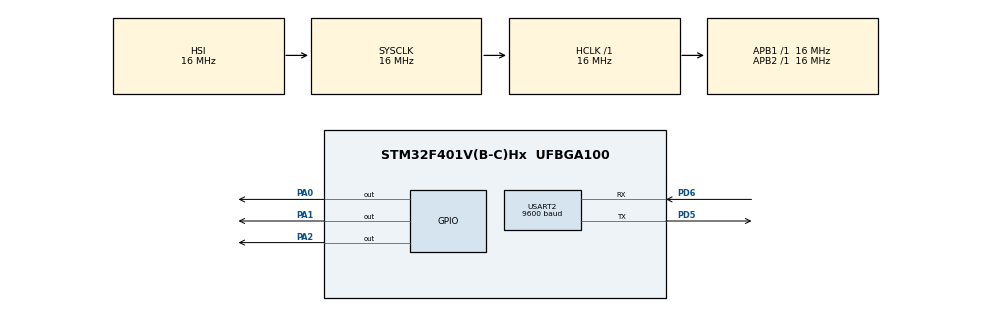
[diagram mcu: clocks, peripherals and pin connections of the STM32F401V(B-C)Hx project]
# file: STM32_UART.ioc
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Mcu.Family=STM32F4
Mcu.Name=STM32F401V(B-C)Hx
Mcu.Package=UFBGA100
NVIC.PriorityGroup=NVIC_PRIORITYGROUP_4
PA0-WKUP.Signal=GPIO_Output
PA1.Signal=GPIO_Output
PA2.Signal=GPIO_Output
PD5.Mode=Asynchronous
PD5.Signal=USART2_TX
PD6.Mode=Asynchronous
PD6.Signal=USART2_RX
ProjectManager.HeapSize=0x200
ProjectManager.StackSize=0x400
ProjectManager.TargetToolchain=STM32CubeIDE
RCC.AHBFreq_Value=16000000
RCC.APB1Freq_Value=16000000
RCC.APB2Freq_Value=16000000
RCC.CortexFreq_Value=16000000
RCC.HSE_VALUE=25000000
RCC.HSI_VALUE=16000000
RCC.LSE_VALUE=32768
RCC.SYSCLKFreq_VALUE=16000000
RCC.VCOOutputFreq_Value=192000000
USART2.BaudRate=9600
USART2.VirtualMode=VM_ASYNC
board=custom

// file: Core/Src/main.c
/* USER CODE BEGIN Header */
/**
  ******************************************************************************
  * @file           : main.c
  * @brief          : Main program body
  ******************************************************************************
  * @attention
  *
  * <h2><center>&copy; Copyright (c) 2021 STMicroelectronics.
  * All rights reserved.</center></h2>
  *
  * This software component is licensed by ST under BSD 3-Clause license,
  * the "License"; You may not use this file except in compliance with the
  * License. You may obtain a copy of the License at:
  *                        opensource.org/licenses/BSD-3-Clause
  *
  ******************************************************************************
  */
/* USER CODE END Header */
#include "main.h"

UART_HandleTypeDef huart2;

/* USER CODE BEGIN PV */
uint8_t handshake_ATmega = 0;
uint8_t handshake_ATmega2 = 0;
uint8_t handshake_ATmega3 = 0;
uint8_t Ack_ATmega = 0x18;
uint8_t Ack_ATmega2 = 0x30;
uint8_t Ack_ATmega3 = 0x04;

uint8_t colored = 0x02;
uint8_t black = 0x03;
uint8_t error = 0x05;

int break_loop = 0;
/* USER CODE END PV */

void SystemClock_Config(void);
static void MX_GPIO_Init(void);
static void MX_USART2_UART_Init(void);

int main(void)
{

  /* MCU Configuration--------------------------------------------------------*/

  /* Reset of all peripherals, Initializes the Flash interface and the Systick. */
  HAL_Init();

  /* Configure the system clock */
  SystemClock_Config();

  /* Initialize all configured peripherals */
  MX_GPIO_Init();
  MX_USART2_UART_Init();
  /* USER CODE BEGIN 2 */

  GET_Image_Resolution();
  /* USER CODE END 2 */

  /* Infinite loop */
  /* USER CODE BEGIN WHILE */
  if (handshake_ATmega * handshake_ATmega2 == 2048) {
	  HAL_GPIO_WritePin(GPIOA, GPIO_PIN_2, GPIO_PIN_SET);
	  HAL_Delay(100);
  }
  while (1)
  {
	  handshake_ATmega3 = 0;

	  if (__HAL_UART_GET_FLAG(&huart2, UART_FLAG_RXNE) == SET) {
		  HAL_UART_Receive(&huart2, (uint8_t *) &handshake_ATmega3, 1, 1000);
		  __HAL_UART_CLEAR_FLAG(&huart2, UART_FLAG_RXNE);

		  if (handshake_ATmega3 == 0x29) {
			  HAL_Delay(100);
			  HAL_UART_Transmit(&huart2, (uint8_t *) &Ack_ATmega3, 1, 100);
			  //HAL_UART_Transmit(&huart2, (uint8_t *) &black, 1, 100);
			  //HAL_UART_Transmit(&huart2, (uint8_t *) &error, 1, 100);
			  HAL_Delay(1000);
			  HAL_UART_Transmit(&huart2, (uint8_t *) &colored, 1, 100);
			  //HAL_UART_Transmit(&huart2, (uint8_t *) &black, 1, 100);
			  //HAL_UART_Transmit(&huart2, (uint8_t *) &error, 1, 100);
			  //break;
		  }
		  else {
			  continue;
		  }
	  }
    /* USER CODE END WHILE */

    /* USER CODE BEGIN 3 */
	  HAL_GPIO_TogglePin(GPIOA, GPIO_PIN_0);
	  HAL_Delay(500);

  }
  /* USER CODE END 3 */
}

void SystemClock_Config(void)
{
  RCC_OscInitTypeDef RCC_OscInitStruct = {0};
  RCC_ClkInitTypeDef RCC_ClkInitStruct = {0};

  /** Configure the main internal regulator output voltage
  */
  __HAL_RCC_PWR_CLK_ENABLE();
  __HAL_PWR_VOLTAGESCALING_CONFIG(PWR_REGULATOR_VOLTAGE_SCALE2);
  /** Initializes the RCC Oscillators according to the specified parameters
  * in the RCC_OscInitTypeDef structure.
  */
  RCC_OscInitStruct.OscillatorType = RCC_OSCILLATORTYPE_HSI;
  RCC_OscInitStruct.HSIState = RCC_HSI_ON;
  RCC_OscInitStruct.HSICalibrationValue = RCC_HSICALIBRATION_DEFAULT;
  RCC_OscInitStruct.PLL.PLLState = RCC_PLL_NONE;
  if (HAL_RCC_OscConfig(&RCC_OscInitStruct) != HAL_OK)
  {
    Error_Handler();
  }
  /** Initializes the CPU, AHB and APB buses clocks
  */
  RCC_ClkInitStruct.ClockType = RCC_CLOCKTYPE_HCLK|RCC_CLOCKTYPE_SYSCLK
                              |RCC_CLOCKTYPE_PCLK1|RCC_CLOCKTYPE_PCLK2;
  RCC_ClkInitStruct.SYSCLKSource = RCC_SYSCLKSOURCE_HSI;
  RCC_ClkInitStruct.AHBCLKDivider = RCC_SYSCLK_DIV1;
  RCC_ClkInitStruct.APB1CLKDivider = RCC_HCLK_DIV1;
  RCC_ClkInitStruct.APB2CLKDivider = RCC_HCLK_DIV1;

  if (HAL_RCC_ClockConfig(&RCC_ClkInitStruct, FLASH_LATENCY_0) != HAL_OK)
  {
    Error_Handler();
  }
}

static void MX_USART2_UART_Init(void)
{

  huart2.Instance = USART2;
  huart2.Init.BaudRate = 9600;
  huart2.Init.WordLength = UART_WORDLENGTH_8B;
  huart2.Init.StopBits = UART_STOPBITS_1;
  huart2.Init.Parity = UART_PARITY_NONE;
  huart2.Init.Mode = UART_MODE_TX_RX;
  huart2.Init.HwFlowCtl = UART_HWCONTROL_NONE;
  huart2.Init.OverSampling = UART_OVERSAMPLING_16;
  if (HAL_UART_Init(&huart2) != HAL_OK)
  {
    Error_Handler();
  }

}

static void MX_GPIO_Init(void)
{
  GPIO_InitTypeDef GPIO_InitStruct = {0};

  /* GPIO Ports Clock Enable */
  __HAL_RCC_GPIOD_CLK_ENABLE();
  __HAL_RCC_GPIOA_CLK_ENABLE();

  /*Configure GPIO pin Output Level */
  HAL_GPIO_WritePin(GPIOA, GPIO_PIN_2|GPIO_PIN_0|GPIO_PIN_1, GPIO_PIN_RESET);

  /*Configure GPIO pins : PA2 PA0 PA1 */
  GPIO_InitStruct.Pin = GPIO_PIN_2|GPIO_PIN_0|GPIO_PIN_1;
  GPIO_InitStruct.Mode = GPIO_MODE_OUTPUT_PP;
  GPIO_InitStruct.Pull = GPIO_NOPULL;
  GPIO_InitStruct.Speed = GPIO_SPEED_FREQ_LOW;
  HAL_GPIO_Init(GPIOA, &GPIO_InitStruct);

}

/* USER CODE BEGIN 4 */
void GET_Image_Resolution() {
	while(!break_loop) {
		handshake_ATmega = 0;
		handshake_ATmega2 = 0;

		if (__HAL_UART_GET_FLAG(&huart2, UART_FLAG_RXNE) == SET) {
		  HAL_UART_Receive(&huart2, (uint8_t *) &handshake_ATmega, sizeof(handshake_ATmega), 100);
		  HAL_Delay(500);
		  __HAL_UART_CLEAR_FLAG(&huart2, UART_FLAG_RXNE);

		  if (handshake_ATmega == 0x20) {
			  HAL_Delay(500);
			  HAL_UART_Transmit(&huart2, (uint8_t *) &Ack_ATmega, sizeof(Ack_ATmega), 100);

			  while (1) {
				  if (__HAL_UART_GET_FLAG(&huart2, UART_FLAG_RXNE) == SET) {
					  HAL_UART_Receive(&huart2, (uint8_t *) &handshake_ATmega2, sizeof(handshake_ATmega2), 100);
					  HAL_Delay(500);
					  __HAL_UART_CLEAR_FLAG(&huart2, UART_FLAG_RXNE);

					  if (handshake_ATmega2 == 0x40) {
						  HAL_Delay(500);
						  HAL_UART_Transmit(&huart2, (uint8_t *) &Ack_ATmega2, sizeof(Ack_ATmega2), 100);

						  HAL_GPIO_WritePin(GPIOA, GPIO_PIN_1, GPIO_PIN_SET);
						  break_loop = 1;
						  break;
					  }
					  else {
						  continue;
					  }
				  }
			  }
		  }
		  else {
			  continue;
		  }
		}
	}

}
/* USER CODE END 4 */

void Error_Handler(void)
{
  __disable_irq();
  while (1)
  {
  }
}

/************************ (C) COPYRIGHT STMicroelectronics *****END OF FILE****/
